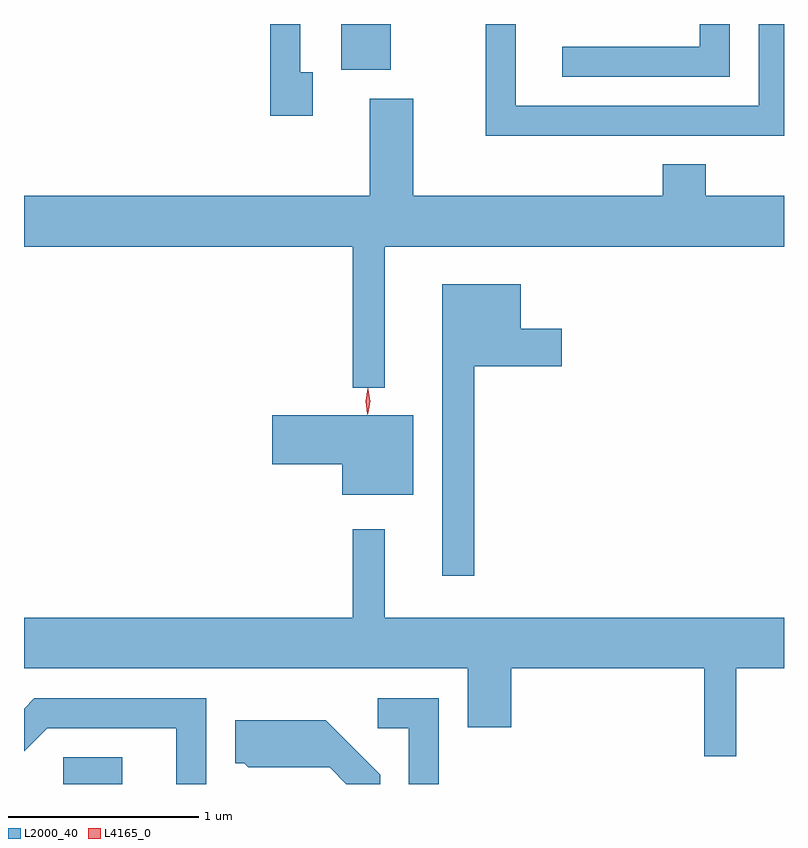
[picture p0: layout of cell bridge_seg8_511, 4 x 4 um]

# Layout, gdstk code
import gdstk
lib = gdstk.Library(unit=1e-6, precision=1e-09)
def R(c, l, rs):  # rectangles x0, y0, x1, y1
    for r in rs: c.add(gdstk.rectangle(r[:2], r[2:], *l))
def P(c, l, *ps):  # polygons
    for p in ps: c.add(gdstk.Polygon(p, *l))
L2000_40 = (2000, 40)
L4165_0 = (4165, 0)

bridge_seg8_511 = lib.new_cell('bridge_seg8_511')
R(bridge_seg8_511, L2000_40, [(281.536,1835.808,281.848,1835.949), (283.001,1839.566,283.259,1839.808)])
P(bridge_seg8_511, L2000_40, [(285.044,1839.808),(284.886,1839.808),(284.886,1839.689),(284.163,1839.689),(284.163,1839.531),(285.044,1839.531)],
  [(285.33,1839.808),(285.196,1839.808),(285.196,1839.379),(283.919,1839.379),(283.919,1839.808),(283.761,1839.808),(283.761,1839.221),(285.33,1839.221)],
  [(282.849,1839.554),(282.784,1839.554),(282.784,1839.808),(282.626,1839.808),(282.626,1839.326),(282.849,1839.326)],
  [(283.229,1838.636),(285.33,1838.636),(285.33,1838.904),(284.919,1838.904),(284.919,1839.069),(284.691,1839.069),(284.691,1838.904),(283.379,1838.904),(283.379,1839.414),(283.151,1839.414),(283.151,1838.904),(281.33,1838.904),(281.33,1838.636),(283.061,1838.636),(283.061,1837.893),(283.229,1837.893)],
  [(283.699,1838.006),(284.159,1838.006),(284.159,1838.204),(283.944,1838.204),(283.944,1838.439),(283.531,1838.439),(283.531,1836.903),(283.699,1836.903)],
  [(283.379,1837.749),(282.636,1837.749),(282.636,1837.491),(283.006,1837.491),(283.006,1837.331),(283.379,1837.331)],
  [(285.079,1836.416),(285.33,1836.416),(285.33,1836.684),(283.229,1836.684),(283.229,1837.148),(283.061,1837.148),(283.061,1836.684),(281.33,1836.684),(281.33,1836.416),(283.666,1836.416),(283.666,1836.106),(283.894,1836.106),(283.894,1836.416),(284.911,1836.416),(284.911,1835.953),(285.079,1835.953)],
  [(283.514,1836.259),(283.193,1836.259),(283.193,1836.101),(283.356,1836.101),(283.356,1835.808),(283.514,1835.808)],
  [(282.289,1836.259),(281.384,1836.259),(281.33,1836.205),(281.33,1835.98),(281.363,1836.013),(281.452,1836.101),(282.131,1836.101),(282.131,1835.808),(282.289,1835.808)],
  [(283.204,1835.857),(282.917,1836.144),(282.441,1836.144),(282.441,1835.916),(282.489,1835.916),(282.509,1835.896),(282.939,1835.896),(283.027,1835.808),(283.204,1835.808)])
P(bridge_seg8_511, L4165_0, [(283.137,1837.754),(283.128,1837.822),(283.139,1837.89),(283.139,1837.89),(283.14,1837.89),(283.148,1837.822),(283.138,1837.754),(283.138,1837.754)],
  [(283.142,1837.76),(283.142,1837.76),(283.132,1837.823),(283.142,1837.886),(283.142,1837.887),(283.143,1837.886),(283.152,1837.823),(283.143,1837.76)])

lib.write_gds('bridge_seg8_511.gds')
